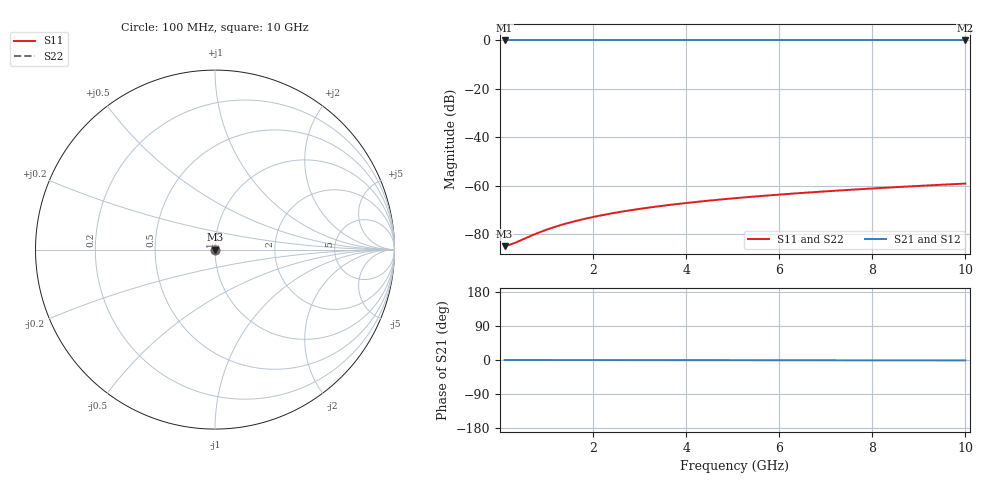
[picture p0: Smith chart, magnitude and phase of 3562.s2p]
# Hz S RI R 50.00
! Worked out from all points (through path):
!   100 points, 100 MHz to 10 GHz, reference 50 ohm
!   highest |S21| = 0.00 dB at 100 MHz (marker M1); lowest = 0.0 dB at 10 GHz (marker M2)
!   lowest |S11| = -85.0 dB at 100 MHz (marker M3), VSWR 1.00, Z = 50 + j0.0011 ohm
!   |S11| at or under -10 dB: start of sweep to end of sweep
!   |S22| runs from -85.0 to -59.1 dB; largest |S21 - S12| = 0
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1e8  5.54e-05 1.1e-05  0.9999 -0.000187  0.9999 -0.000187  5.54e-05 1.1e-05
7e8  5.64e-05 7.67e-05  0.9999 -0.00131  0.9999 -0.00131  5.64e-05 7.67e-05
8e8  5.65e-05 8.76e-05  0.9999 -0.0015  0.9999 -0.0015  5.65e-05 8.76e-05
1e9  5.66e-05 0.000109  0.9999 -0.00187  0.9999 -0.00187  5.66e-05 0.000109
1.1e9  5.67e-05 0.00012  0.9999 -0.00206  0.9999 -0.00206  5.67e-05 0.00012
1.3e9  5.69e-05 0.000142  0.9999 -0.00244  0.9999 -0.00244  5.69e-05 0.000142
1.5e9  5.7e-05 0.000164  0.9999 -0.00281  0.9999 -0.00281  5.7e-05 0.000164
1.8e9  5.73e-05 0.000197  0.9999 -0.00337  0.9999 -0.00337  5.73e-05 0.000197
2.1e9  5.75e-05 0.000229  0.9999 -0.00394  0.9999 -0.00394  5.75e-05 0.000229
2.3e9  5.77e-05 0.000251  0.9999 -0.00431  0.9999 -0.00431  5.77e-05 0.000251
2.5e9  5.79e-05 0.000273  0.9999 -0.00469  0.9999 -0.00469  5.79e-05 0.000273
2.9e9  5.83e-05 0.000316  0.9999 -0.00544  0.9999 -0.00544  5.83e-05 0.000316
3.4e9  5.89e-05 0.00037  0.9999 -0.00638  0.9999 -0.00638  5.89e-05 0.00037
3.8e9  5.94e-05 0.000413  0.9999 -0.00714  0.9999 -0.00714  5.94e-05 0.000413
4.2e9  6e-05 0.000457  0.9999 -0.00789  0.9999 -0.00789  6e-05 0.000457
4.6e9  6.07e-05 0.0005  0.9999 -0.00864  0.9999 -0.00864  6.07e-05 0.0005
5.1e9  6.16e-05 0.000554  0.9999 -0.00959  0.9999 -0.00959  6.16e-05 0.000554
5.9e9  6.33e-05 0.000641  0.9999 -0.0111  0.9999 -0.0111  6.33e-05 0.000641
6.7e9  6.53e-05 0.000729  0.9999 -0.0126  0.9999 -0.0126  6.53e-05 0.000729
7.5e9  6.75e-05 0.000818  0.9998 -0.0141  0.9998 -0.0141  6.75e-05 0.000818
8.4e9  7.04e-05 0.000919  0.9998 -0.0159  0.9998 -0.0159  7.04e-05 0.000919
1e10  7.65e-05 0.0011  0.9997 -0.0189  0.9997 -0.0189  7.65e-05 0.0011
